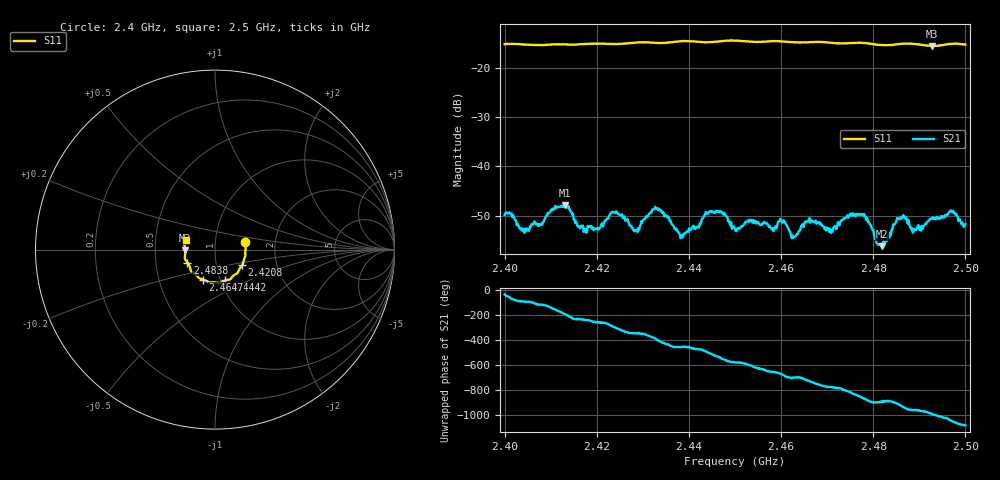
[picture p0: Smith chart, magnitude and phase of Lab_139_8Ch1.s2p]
# Hz S RI R 50
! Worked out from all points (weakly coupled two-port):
!   601 points, 2.4 GHz to 2.5 GHz, reference 50 ohm
!   highest |S21| = -47.84 dB at 2.413 GHz (marker M1); lowest = -56.2 dB at 2.4818 GHz (marker M2)
!   lowest |S11| = -15.6 dB at 2.4928 GHz (marker M3), VSWR 1.40, Z = 35.8 - j0.366 ohm
!   |S11| at or under -10 dB: start of sweep to end of sweep
!   S12 and S22 are empty: the file has one direction only
!   S11 on the Smith chart (normalised r, x): 2.4 GHz: 1.40, +0.12; 2.4208 GHz: 1.33, -0.24; 2.4442 GHz: 1.05, -0.37; 2.4647 GHz: 0.83, -0.29; 2.4838 GHz: 0.73, -0.11; 2.5 GHz: 0.72, +0.08
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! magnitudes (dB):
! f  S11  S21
! 2.4 GHz  -15.2  -49.9
! 2.4048 GHz  -15.3  -52.6
! 2.413 GHz  -15.3  -47.8
! 2.4167 GHz  -15.2  -52.0
! 2.4208 GHz  -15.1  -52.3
! 2.4238 GHz  -15.2  -49.4
! 2.4287 GHz  -14.9  -52.9
! 2.4333 GHz  -15.0  -48.9
! 2.4385 GHz  -14.6  -53.9
! 2.4442 GHz  -14.9  -49.6
! 2.45 GHz  -14.5  -52.7
! 2.4647 GHz  -14.9  -51.7
! 2.4667 GHz  -14.8  -51.1
! 2.4707 GHz  -15.0  -52.7
! 2.4775 GHz  -15.0  -49.7
! 2.4818 GHz  -15.4  -56.2
! 2.4833 GHz  -15.5  -53.9
! 2.4838 GHz  -15.4  -53.9
! 2.4862 GHz  -15.2  -50.5
! 2.489 GHz  -15.2  -52.9
! 2.4928 GHz  -15.6  -50.5
! 2.5 GHz  -15.3  -51.7
